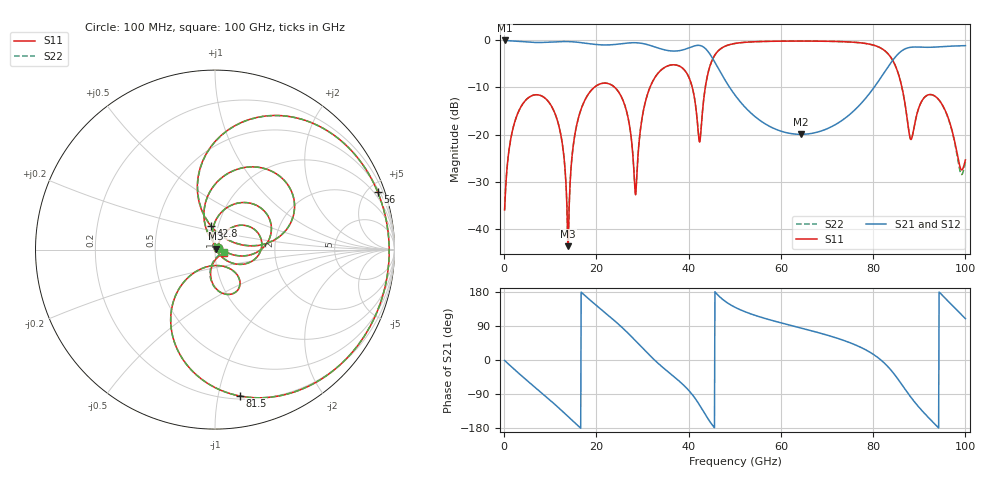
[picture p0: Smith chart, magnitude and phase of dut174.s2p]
! Touchstone file exported from HFSS 2026.1.0
!  File:  C:/ffzhzh/LocalFiles/Ansys_Project_Files/temp_test_TSV_RDL_174_1783468046_50928.aedt
!  Generated:  08:00:18 AM Jul  8, 2026
!  Design:  TSV_RDL
!  Project:  temp_test_TSV_RDL_174_1783468046_50928
! Variables:
!  h_bsmrdl = 3.04um
!  h_ox = 20um
!  h_rdl = 5um
!  h_sub = 97.78um
!  h_tmrdl = 3.55um
!  h_tsv = 97.78um
!  h_via = 3um
!  l_bsmrdl = 100.09um
!  l_sub = 3056.53um
!  l_tmrdl = 553.74um
!  m_sub = 200um
!  pitch = 40.23um
!  r_tsv = 14.46um
!  s_tmrdl = 10um
!  w_bsmrdl = 28.63um
!  w_sub = 500um
!  w_tmrdl = 18.47um
!  x_tsv_center1 = 562.975um
!  x_tsv_center2 = 691.695um
!  x_tsv_center3 = 1263.905um
!  x_tsv_center4 = 1392.625um
!  x_tsv_center5 = 1964.835um
!  x_tsv_center6 = 2093.555um
# GHz S MA R 50.000000
! Terminal data exported
! Port[1] = TM_RDL1_1_T1
! Port[2] = TM_RDL5_1_T1
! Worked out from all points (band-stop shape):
!   1000 points, 100 MHz to 100 GHz, reference 50 ohm
!   highest |S21| = -0.13 dB at 100 MHz (marker M1); lowest = -19.9 dB at 64.3 GHz (marker M2)
!   |S21| within 3 dB of the highest: start of sweep to 44.69 GHz; 85.27 GHz to end of sweep
!   lowest |S11| = -43.5 dB at 13.9 GHz (marker M3), VSWR 1.01, Z = 50.4 + j0.56 ohm
!   |S11| at or under -10 dB: start of sweep to 19.56 GHz; 23.95 GHz to 31.63 GHz (7.678 GHz wide, 27.6 % of centre); 86.23 GHz to end of sweep (the widest 3 of 4)
!   |S22| runs from -42.8 to -0.3 dB; largest |S21 - S12| = 1.7e-14
!   S11 on the Smith chart (normalised r, x): 100 MHz: 1.03, +0.01; 42.8 GHz: 0.92, +0.25; 56 GHz: 0.67, +5.76; 81.5 GHz: 0.22, -1.16; 100 GHz: 1.10, -0.04
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0.1  0.01604 26.0  0.9857 -1.2  0.9857 -1.2  0.01604 26.0
! Gamma 0 0 0 0
! Port Impedance 50 0 50 0
2.5  0.1464 54.1  0.9687 -27.9  0.9687 -27.9  0.1464 54.1
7.4  0.2627 6.7  0.938 -79.3  0.938 -79.3  0.2627 6.8
11.7  0.1327 -36.3  0.956 -124.9  0.956 -124.9  0.1327 -36.0
13.9  0.006649 56.7  0.9587 -149.6  0.9587 -149.6  0.007224 54.2
16.8  0.1925 83.6  0.9331 177.8  0.9331 177.8  0.1925 83.5
24.5  0.2959 8.0  0.899 97.6  0.899 97.6  0.296 8.1
28.5  0.02317 53.5  0.9327 50.5  0.9327 50.5  0.02386 53.1
30.4  0.2002 108.1  0.9077 26.4  0.9077 26.4  0.2002 107.9
33.4  0.4467 77.7  0.8196 -9.0  0.8196 -9.0  0.4466 77.7
38.9  0.4916 26.0  0.7874 -66.2  0.7874 -66.2  0.4916 26.1
42.8  0.1331 99.7  0.8625 -127.5  0.8625 -127.5  0.1342 99.1
45.1  0.6108 89.2  0.6487 -171.0  0.6487 -171.0  0.611 89.1
50.1  0.9176 44.6  0.2594 138.8  0.2594 138.8  0.9176 44.5
56  0.9617 19.5  0.1355 111.7  0.1355 111.7  0.9616 19.5
64.3  0.9709 -5.6  0.1007 84.5  0.1007 84.5  0.9708 -5.6
66.7  0.9701 -12.7  0.1031 76.9  0.1031 76.9  0.97 -12.6
81.5  0.8273 -80.4  0.3879 1.8  0.3879 1.8  0.8271 -80.4
83.4  0.6976 -99.4  0.5327 -20.2  0.5327 -20.2  0.6974 -99.5
88.7  0.1078 -61.0  0.8398 -106.4  0.8398 -106.4  0.1078 -61.2
94.2  0.2345 -84.1  0.8433 -179.4  0.8433 -179.4  0.2339 -84.7
100  0.05404 -22.0  0.8692 109.1  0.8692 109.1  0.0512 -17.9
